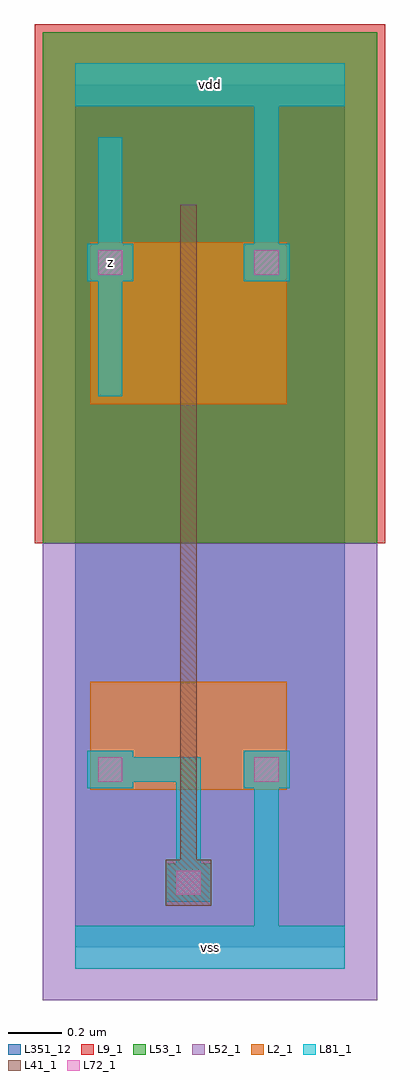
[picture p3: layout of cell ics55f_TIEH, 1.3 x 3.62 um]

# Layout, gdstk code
import gdstk
lib = gdstk.Library(unit=1e-6, precision=1e-09)
def R(c, l, rs):  # rectangles x0, y0, x1, y1
    for r in rs: c.add(gdstk.rectangle(r[:2], r[2:], *l))
def P(c, l, *ps):  # polygons
    for p in ps: c.add(gdstk.Polygon(p, *l))
L0_0 = (0, 0)
L2_1 = (2, 1)
L9_1 = (9, 1)
L41_1 = (41, 1)
L52_1 = (52, 1)
L53_1 = (53, 1)
L72_1 = (72, 1)
L81_1 = (81, 1)
L351_12 = (351, 12)

ics55f_tieh = lib.new_cell('ics55f_TIEH')
R(ics55f_tieh, L2_1, [(0.055,0.585,0.785,0.985), (0.055,0.585,0.205,0.735), (0.635,0.585,0.785,0.735), (0.055,2.015,0.785,2.615), (0.055,2.465,0.205,2.615), (0.635,2.465,0.785,2.615)])
R(ics55f_tieh, L9_1, [(-0.15,1.5,1.15,3.425)])
R(ics55f_tieh, L41_1, [(0.335,0.155,0.505,0.325), (0.39,0.21,0.45,0.69), (0.39,0.445,0.45,1.125), (0.39,0.63,0.45,2.12), (0.39,0.63,0.45,0.94), (0.39,1.875,0.45,2.755)])
R(ics55f_tieh, L52_1, [(-0.12,-0.195,1.12,1.5)])
R(ics55f_tieh, L53_1, [(-0.12,1.5,1.12,3.395)])
R(ics55f_tieh, L72_1, [(0.375,0.195,0.465,0.285), (0.085,0.615,0.175,0.705), (0.665,0.615,0.755,0.705), (0.085,2.495,0.175,2.585), (0.665,2.495,0.755,2.585)])
P(ics55f_tieh, L81_1, [(0.335,0.17),(0.335,0.31),(0.375,0.31),(0.375,0.615),(0.215,0.615),(0.215,0.59),(0.045,0.59),(0.045,0.73),(0.215,0.73),(0.215,0.705),(0.465,0.705),(0.465,0.31),(0.505,0.31),(0.505,0.17)],
  [(0,-0.08),(0,0.08),(0.665,0.08),(0.665,0.59),(0.625,0.59),(0.625,0.73),(0.795,0.73),(0.795,0.59),(0.755,0.59),(0.755,0.08),(1,0.08),(1,-0.08)],
  [(0.085,2.045),(0.085,2.47),(0.045,2.47),(0.045,2.61),(0.085,2.61),(0.085,3.005),(0.175,3.005),(0.175,2.61),(0.215,2.61),(0.215,2.47),(0.175,2.47),(0.175,2.045)],
  [(0.625,2.47),(0.625,2.61),(0.665,2.61),(0.665,3.12),(0,3.12),(0,3.28),(1,3.28),(1,3.12),(0.755,3.12),(0.755,2.61),(0.795,2.61),(0.795,2.47)])
R(ics55f_tieh, L351_12, [(0,0,1,3.2)])
ics55f_tieh.add(gdstk.FlexPath([(0.045,0.24),(0.795,0.24)], 0, ends="flush", simple_path=True, layer=0, datatype=0))  # L0_0
ics55f_tieh.add(gdstk.FlexPath([(0.045,0.66),(0.795,0.66)], 0, ends="flush", simple_path=True, layer=0, datatype=0))  # L0_0
ics55f_tieh.add(gdstk.FlexPath([(0.045,0.91),(0.795,0.91)], 0, ends="flush", simple_path=True, layer=0, datatype=0))  # L0_0
ics55f_tieh.add(gdstk.FlexPath([(0.045,1.33),(0.795,1.33)], 0, ends="flush", simple_path=True, layer=0, datatype=0))  # L0_0
ics55f_tieh.add(gdstk.FlexPath([(0.045,1.62),(0.795,1.62)], 0, ends="flush", simple_path=True, layer=0, datatype=0))  # L0_0
ics55f_tieh.add(gdstk.FlexPath([(0.045,2.09),(0.795,2.09)], 0, ends="flush", simple_path=True, layer=0, datatype=0))  # L0_0
ics55f_tieh.add(gdstk.FlexPath([(0.045,2.54),(0.795,2.54)], 0, ends="flush", simple_path=True, layer=0, datatype=0))  # L0_0
ics55f_tieh.add(gdstk.FlexPath([(0.045,2.96),(0.795,2.96)], 0, ends="flush", simple_path=True, layer=0, datatype=0))  # L0_0
ics55f_tieh.add(gdstk.FlexPath([(0.13,0.03),(0.13,3.17)], 0, ends="flush", simple_path=True, layer=0, datatype=0))  # L0_0
ics55f_tieh.add(gdstk.FlexPath([(0.42,0.03),(0.42,3.17)], 0, ends="flush", simple_path=True, layer=0, datatype=0))  # L0_0
ics55f_tieh.add(gdstk.FlexPath([(0.71,0.03),(0.71,3.17)], 0, ends="flush", simple_path=True, layer=0, datatype=0))  # L0_0
ics55f_tieh.add(gdstk.Label('z', (0.13,2.54), layer=2, texttype=1))
ics55f_tieh.add(gdstk.Label('z', (0.13,2.54), layer=72, texttype=1))
ics55f_tieh.add(gdstk.Label('z', (0.13,2.54), layer=81, texttype=6))
ics55f_tieh.add(gdstk.Label('z', (0.13,2.525), layer=81, texttype=6))
ics55f_tieh.add(gdstk.Label('vss', (0.5,0), layer=81, texttype=6))
ics55f_tieh.add(gdstk.Label('vdd', (0.5,3.2), layer=81, texttype=6))

lib.write_gds('ics55f_TIEH.gds')
